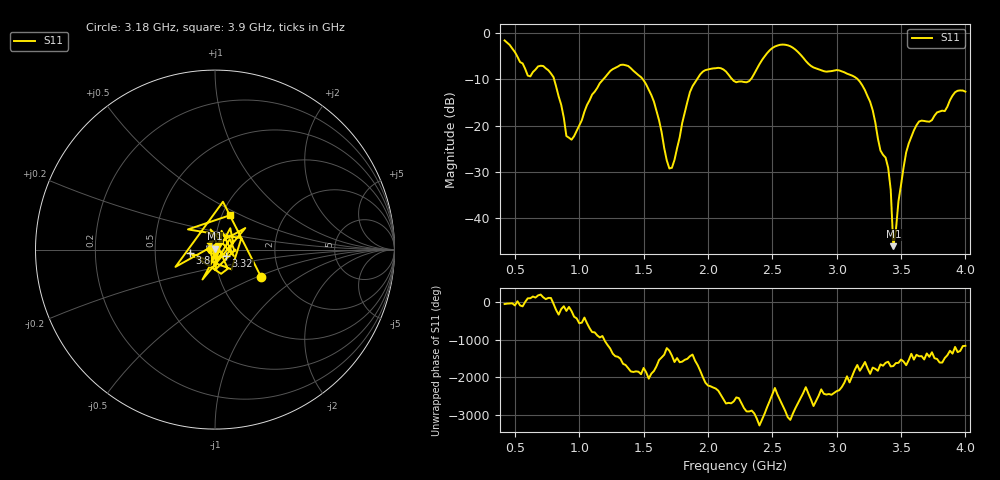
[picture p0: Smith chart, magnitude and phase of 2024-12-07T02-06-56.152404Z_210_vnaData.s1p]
!Created with skrf (http://scikit-rf.org).
# Hz S RI R 50.0
!freq ReS11 ImS11
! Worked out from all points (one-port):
!   180 points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, 420 MHz to 4 GHz, reference 50 ohm
!   lowest |S11| = -46.0 dB at 3.44 GHz (marker M1), VSWR 1.01, Z = 50 + j0.5 ohm
!   |S11| at or under -10 dB: 804.5 MHz to 1.187 GHz (382.3 MHz wide, 38.4 % of centre); 1.494 GHz to 1.914 GHz (420.8 MHz wide, 24.7 % of centre); 3.163 GHz to end of sweep (the widest 3 of 4)
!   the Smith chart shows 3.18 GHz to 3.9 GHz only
!   S11 on the Smith chart (normalised r, x): 3.18 GHz: 1.58, -0.53; 3.32 GHz: 1.13, -0.09; 3.8 GHz: 0.75, -0.03; 3.9 GHz: 1.10, +0.44
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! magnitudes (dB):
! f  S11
! 420 MHz  -1.6
! 600 MHz  -9.2
! 780 MHz  -8.7
! 880 MHz  -18.3
! 940 MHz  -23.0
! 1.1 GHz  -13.3
! 1.32 GHz  -6.9
! 1.56 GHz  -13.4
! 1.7 GHz  -29.2
! 1.78 GHz  -22.6
! 1.86 GHz  -12.8
! 1.96 GHz  -8.4
! 2.22 GHz  -10.6
! 2.32 GHz  -10.4
! 2.5 GHz  -3.3
! 2.66 GHz  -3.2
! 3.12 GHz  -9.2
! 3.18 GHz  -10.5
! 3.26 GHz  -14.9
! 3.32 GHz  -22.7
! 3.4 GHz  -29.1
! 3.42 GHz  -33.9
! 3.44 GHz  -46.0
! 3.56 GHz  -23.8
! 3.64 GHz  -19.1
! 3.8 GHz  -17.0
! 3.9 GHz  -13.5
! 4 GHz  -12.7
